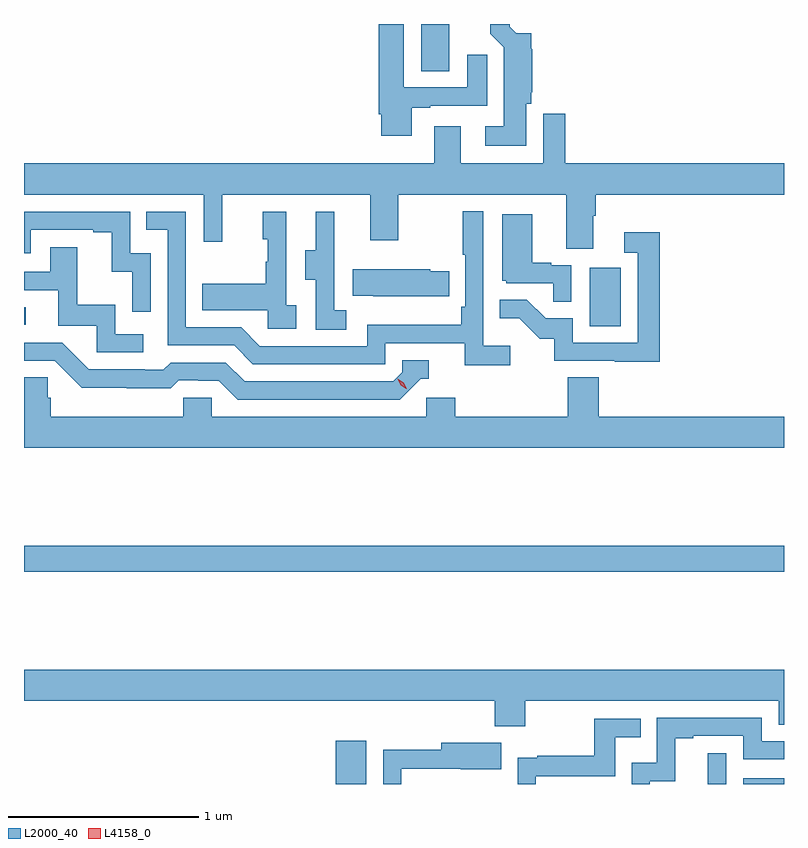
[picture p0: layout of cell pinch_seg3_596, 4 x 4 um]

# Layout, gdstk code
import gdstk
lib = gdstk.Library(unit=1e-6, precision=1e-09)
def R(c, l, rs):  # rectangles x0, y0, x1, y1
    for r in rs: c.add(gdstk.rectangle(r[:2], r[2:], *l))
def P(c, l, *ps):  # polygons
    for p in ps: c.add(gdstk.Polygon(p, *l))
L2000_40 = (2000, 40)
L4158_0 = (4158, 0)

pinch_seg3_596 = lib.new_cell('pinch_seg3_596')
R(pinch_seg3_596, L2000_40, [(1045.808,685.826,1045.969,686.053), (1047.767,685.826,1047.864,685.987), (1047.954,685.826,1048.168,685.857), (1044.168,686.944,1048.168,687.08), (1047.146,688.236,1047.31,688.543), (1044.168,688.242,1044.178,688.335), (1046.258,689.578,1046.407,689.826)])
P(pinch_seg3_596, L2000_40, [(1046.812,689.406),(1046.837,689.406),(1046.837,689.466),(1046.843,689.466),(1046.843,689.693),(1046.837,689.699),(1046.837,689.778),(1046.758,689.778),(1046.725,689.812),(1046.725,689.826),(1046.623,689.826),(1046.623,689.774),(1046.693,689.704),(1046.693,689.287),(1046.595,689.287),(1046.595,689.186),(1046.812,689.186)],
  [(1046.209,689.385),(1046.305,689.385),(1046.305,689.397),(1046.605,689.397),(1046.605,689.665),(1046.501,689.665),(1046.501,689.493),(1046.167,689.493),(1046.167,689.826),(1046.036,689.826),(1046.036,689.35),(1046.048,689.35),(1046.048,689.238),(1046.209,689.238)],
  [(1047.163,688.816),(1047.176,688.816),(1047.176,688.928),(1048.168,688.928),(1048.168,689.092),(1047.017,689.092),(1047.017,689.353),(1046.901,689.353),(1046.901,689.092),(1046.467,689.092),(1046.467,689.287),(1046.327,689.287),(1046.327,689.092),(1044.168,689.092),(1044.168,688.928),(1045.113,688.928),(1045.113,688.68),(1045.211,688.68),(1045.211,688.928),(1045.991,688.928),(1045.991,688.689),(1046.139,688.689),(1046.139,688.928),(1047.023,688.928),(1047.023,688.642),(1047.163,688.642)],
  [(1046.728,688.132),(1046.586,688.132),(1046.586,688.84),(1046.478,688.84),(1046.478,688.612),(1046.49,688.612),(1046.49,688.339),(1046.47,688.339),(1046.47,688.243),(1045.974,688.243),(1045.974,688.131),(1045.41,688.131),(1045.311,688.23),(1045.02,688.23),(1045.02,688.839),(1044.811,688.839),(1044.811,688.743),(1044.924,688.743),(1044.924,688.134),(1045.274,688.134),(1045.373,688.035),(1046.07,688.035),(1046.07,688.146),(1046.489,688.146),(1046.489,688.03),(1046.728,688.03)],
  [(1044.834,688.62),(1044.726,688.62),(1044.726,688.839),(1044.168,688.839),(1044.168,688.62),(1044.204,688.62),(1044.204,688.743),(1044.533,688.743),(1044.533,688.731),(1044.629,688.731),(1044.629,688.523),(1044.738,688.523),(1044.738,688.311),(1044.834,688.311)],
  [(1045.864,688.319),(1045.8,688.319),(1045.8,688.623),(1045.802,688.623),(1045.802,688.837),(1045.703,688.837),(1045.703,688.635),(1045.649,688.635),(1045.649,688.48),(1045.704,688.48),(1045.704,688.216),(1045.864,688.216)],
  [(1045.6,688.346),(1045.548,688.346),(1045.548,688.837),(1045.424,688.837),(1045.424,688.692),(1045.45,688.692),(1045.45,688.574),(1045.44,688.574),(1045.44,688.459),(1045.105,688.459),(1045.105,688.319),(1045.452,688.319),(1045.452,688.221),(1045.6,688.221)],
  [(1047.048,688.557),(1046.942,688.557),(1046.942,688.57),(1046.842,688.57),(1046.842,688.825),(1046.684,688.825),(1046.684,688.476),(1046.706,688.476),(1046.706,688.461),(1046.953,688.461),(1046.953,688.363),(1047.048,688.363)],
  [(1047.515,688.729),(1047.327,688.729),(1047.327,688.623),(1047.399,688.623),(1047.399,688.149),(1047.057,688.149),(1047.057,688.278),(1046.913,688.278),(1046.815,688.376),(1046.671,688.376),(1046.671,688.277),(1046.775,688.277),(1046.882,688.17),(1046.959,688.17),(1046.959,688.053),(1047.277,688.053),(1047.277,688.048),(1047.515,688.048)],
  [(1044.796,688.194),(1044.648,688.194),(1044.648,688.348),(1044.449,688.348),(1044.449,688.651),(1044.305,688.651),(1044.305,688.521),(1044.168,688.521),(1044.168,688.425),(1044.347,688.425),(1044.347,688.239),(1044.552,688.239),(1044.552,688.098),(1044.796,688.098)],
  [(1046.405,688.524),(1046.307,688.524),(1046.307,688.534),(1045.897,688.534),(1045.897,688.397),(1046.005,688.397),(1046.005,688.394),(1046.405,688.394)],
  [(1046.256,687.96),(1046.299,687.96),(1046.299,688.056),(1046.16,688.056),(1046.16,687.993),(1046.112,687.945),(1045.329,687.945),(1045.23,688.044),(1044.941,688.044),(1044.902,688.005),(1044.803,688.005),(1044.803,688.008),(1044.51,688.008),(1044.369,688.149),(1044.168,688.149),(1044.168,688.053),(1044.33,688.053),(1044.472,687.911),(1044.708,687.911),(1044.708,687.909),(1044.941,687.909),(1044.983,687.951),(1045.086,687.951),(1045.086,687.948),(1045.193,687.948),(1045.292,687.849),(1046.145,687.849)],
  [(1048.168,687.76),(1047.194,687.76),(1047.194,687.968),(1047.029,687.968),(1047.029,687.76),(1046.438,687.76),(1046.438,687.858),(1046.286,687.858),(1046.286,687.76),(1045.155,687.76),(1045.155,687.858),(1045.005,687.858),(1045.005,687.76),(1044.308,687.76),(1044.308,687.858),(1044.293,687.858),(1044.293,687.968),(1044.168,687.968),(1044.168,687.596),(1048.168,687.596)],
  [(1046.805,686.264),(1048.14,686.264),(1048.14,686.137),(1048.168,686.137),(1048.168,686.428),(1044.168,686.428),(1044.168,686.264),(1046.645,686.264),(1046.645,686.129),(1046.805,686.129)],
  [(1047.462,685.841),(1047.595,685.841),(1047.595,686.067),(1047.691,686.067),(1047.691,686.079),(1047.954,686.079),(1047.954,685.956),(1048.168,685.956),(1048.168,686.052),(1048.05,686.052),(1048.05,686.175),(1047.498,686.175),(1047.498,685.939),(1047.366,685.939),(1047.366,685.826),(1047.462,685.826)],
  [(1046.862,685.866),(1047.279,685.866),(1047.279,686.072),(1047.413,686.072),(1047.413,686.169),(1047.168,686.169),(1047.168,685.975),(1046.869,685.975),(1046.869,685.963),(1046.766,685.963),(1046.766,685.826),(1046.862,685.826)],
  [(1046.154,685.905),(1046.467,685.905),(1046.467,685.904),(1046.681,685.904),(1046.681,686.044),(1046.363,686.044),(1046.363,686.006),(1046.058,686.006),(1046.058,685.826),(1046.154,685.826)])
P(pinch_seg3_596, L4158_0, [(1046.181,687.905),(1046.151,687.925),(1046.135,687.958),(1046.135,687.958),(1046.135,687.958),(1046.166,687.938),(1046.182,687.906),(1046.182,687.905)])

lib.write_gds('pinch_seg3_596.gds')
